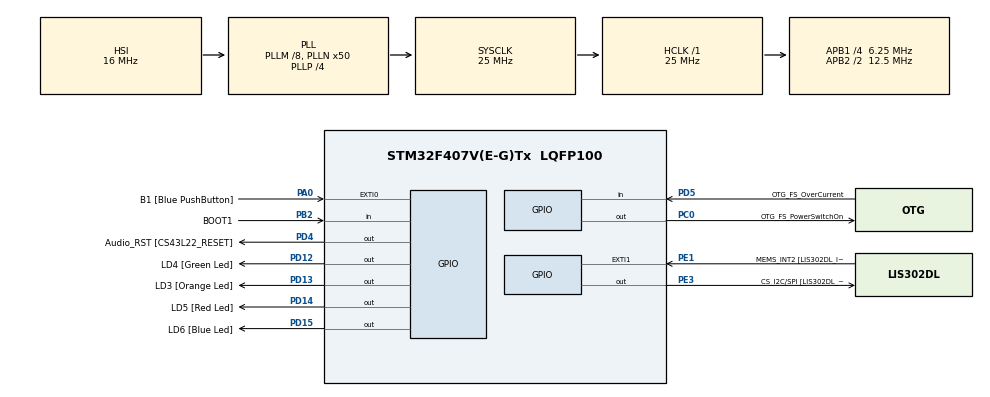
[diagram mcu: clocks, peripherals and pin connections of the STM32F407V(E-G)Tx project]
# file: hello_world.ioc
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Mcu.Family=STM32F4
Mcu.Name=STM32F407V(E-G)Tx
Mcu.Package=LQFP100
NVIC.PriorityGroup=NVIC_PRIORITYGROUP_4
NVIC.TIM6_DAC_IRQn=true\:0\:0\:false\:false\:true\:false\:true\:true
NVIC.TimeBase=TIM6_DAC_IRQn
NVIC.TimeBaseIP=TIM6
PA0-WKUP.GPIO_Label=B1 [Blue PushButton]
PA0-WKUP.Signal=GPXTI0
PA10.GPIO_Label=OTG_FS_ID
PA10.GPIO_Mode=GPIO_MODE_AF_PP
PA10.GPIO_PuPd=GPIO_NOPULL
PA10.GPIO_Speed=GPIO_SPEED_FREQ_LOW
PA10.Signal=USB_OTG_FS_ID
PA11.GPIO_Label=OTG_FS_DM
PA11.GPIO_Mode=GPIO_MODE_AF_PP
PA11.GPIO_PuPd=GPIO_NOPULL
PA11.GPIO_Speed=GPIO_SPEED_FREQ_LOW
PA11.Signal=USB_OTG_FS_DM
PA12.GPIO_Label=OTG_FS_DP
PA12.GPIO_Mode=GPIO_MODE_AF_PP
PA12.GPIO_PuPd=GPIO_NOPULL
PA12.GPIO_Speed=GPIO_SPEED_FREQ_LOW
PA12.Signal=USB_OTG_FS_DP
PA13.GPIO_Label=SWDIO
PA13.Signal=SYS_JTMS-SWDIO
PA14.GPIO_Label=SWCLK
PA14.Signal=SYS_JTCK-SWCLK
PA4.GPIO_Label=I2S3_WS [CS43L22_LRCK]
PA4.GPIO_Mode=GPIO_MODE_AF_PP
PA4.GPIO_PuPd=GPIO_NOPULL
PA4.GPIO_Speed=GPIO_SPEED_FREQ_LOW
PA4.Signal=I2S3_WS
PA5.GPIO_Label=SPI1_SCK [LIS302DL_SCL/SPC]
PA5.GPIO_Mode=GPIO_MODE_AF_PP
PA5.GPIO_PuPd=GPIO_NOPULL
PA5.GPIO_Speed=GPIO_SPEED_FREQ_LOW
PA5.Signal=SPI1_SCK
PA6.GPIO_Label=SPI1_MISO [LIS302DL_SDO]
PA6.GPIO_Mode=GPIO_MODE_AF_PP
PA6.GPIO_PuPd=GPIO_NOPULL
PA6.GPIO_Speed=GPIO_SPEED_FREQ_LOW
PA6.Signal=SPI1_MISO
PA7.GPIO_Label=SPI1_MOSI [LIS302DL_SDA/SDI/SDO]
PA7.GPIO_Mode=GPIO_MODE_AF_PP
PA7.GPIO_PuPd=GPIO_NOPULL
PA7.GPIO_Speed=GPIO_SPEED_FREQ_LOW
PA7.Signal=SPI1_MOSI
PA9.GPIO_Label=VBUS_FS
PA9.GPIO_Mode=GPIO_MODE_INPUT
PA9.GPIO_PuPd=GPIO_NOPULL
PA9.Signal=USB_OTG_FS_VBUS
PB10.GPIO_Label=CLK_IN [MP45DT02_CLK]
PB10.GPIO_Mode=GPIO_MODE_AF_PP
PB10.GPIO_PuPd=GPIO_NOPULL
PB10.GPIO_Speed=GPIO_SPEED_FREQ_LOW
PB10.Signal=I2S2_CK
PB2.GPIO_Label=BOOT1
PB2.GPIO_Mode=GPIO_MODE_INPUT
PB2.GPIO_PuPd=GPIO_NOPULL
PB2.Signal=GPIO_Input
PB3.GPIO_Label=SWO
PB3.Signal=SYS_JTDO-SWO
PB6.GPIO_Label=Audio_SCL [CS43L22_SCL]
PB6.GPIO_Mode=GPIO_MODE_AF_OD
PB6.GPIO_PuPd=GPIO_NOPULL
PB6.GPIO_Speed=GPIO_SPEED_FREQ_LOW
PB6.Signal=I2C1_SCL
PB9.GPIO_Label=Audio_SDA [CS43L22_SDA]
PB9.GPIO_Mode=GPIO_MODE_AF_OD
PB9.GPIO_PuPd=GPIO_NOPULL
PB9.GPIO_Speed=GPIO_SPEED_FREQ_LOW
PB9.Signal=I2C1_SDA
PC0.GPIO_Label=OTG_FS_PowerSwitchOn
PC0.GPIO_PuPd=GPIO_NOPULL
PC0.GPIO_Speed=GPIO_SPEED_FREQ_LOW
PC0.PinState=GPIO_PIN_SET
PC0.Signal=GPIO_Output
PC10.GPIO_Label=I2S3_SCK [CS43L22_SCLK]
PC10.GPIO_Mode=GPIO_MODE_AF_PP
PC10.GPIO_PuPd=GPIO_NOPULL
PC10.GPIO_Speed=GPIO_SPEED_FREQ_LOW
PC10.Signal=I2S3_CK
PC12.GPIO_Label=I2S3_SD [CS43L22_SDIN]
PC12.GPIO_Mode=GPIO_MODE_AF_PP
PC12.GPIO_PuPd=GPIO_NOPULL
PC12.GPIO_Speed=GPIO_SPEED_FREQ_LOW
PC12.Signal=I2S3_SD
PC14-OSC32_IN.GPIO_Label=PC14-OSC32_IN
PC14-OSC32_IN.Signal=RCC_OSC32_IN
PC15-OSC32_OUT.GPIO_Label=PC15-OSC32_OUT
PC15-OSC32_OUT.Signal=RCC_OSC32_OUT
PC3.GPIO_Label=PDM_OUT [MP45DT02_DOUT]
PC3.GPIO_Mode=GPIO_MODE_AF_PP
PC3.GPIO_PuPd=GPIO_NOPULL
PC3.GPIO_Speed=GPIO_SPEED_FREQ_LOW
PC3.Signal=I2S2_SD
PC7.GPIO_Label=I2S3_MCK [CS43L22_MCLK]
PC7.GPIO_Mode=GPIO_MODE_AF_PP
PC7.GPIO_PuPd=GPIO_NOPULL
PC7.GPIO_Speed=GPIO_SPEED_FREQ_LOW
PC7.Signal=I2S3_MCK
PD12.GPIO_Label=LD4 [Green Led]
PD12.GPIO_PuPd=GPIO_NOPULL
PD12.GPIO_Speed=GPIO_SPEED_FREQ_LOW
PD12.Signal=GPIO_Output
PD13.GPIO_Label=LD3 [Orange Led]
PD13.GPIO_PuPd=GPIO_NOPULL
PD13.GPIO_Speed=GPIO_SPEED_FREQ_LOW
PD13.Signal=GPIO_Output
PD14.GPIO_Label=LD5 [Red Led]
PD14.GPIO_PuPd=GPIO_NOPULL
PD14.GPIO_Speed=GPIO_SPEED_FREQ_LOW
PD14.Signal=GPIO_Output
PD15.GPIO_Label=LD6 [Blue Led]
PD15.GPIO_PuPd=GPIO_NOPULL
PD15.GPIO_Speed=GPIO_SPEED_FREQ_LOW
PD15.Signal=GPIO_Output
PD4.GPIO_Label=Audio_RST [CS43L22_RESET]
PD4.GPIO_PuPd=GPIO_NOPULL
PD4.GPIO_Speed=GPIO_SPEED_FREQ_LOW
PD4.Signal=GPIO_Output
PD5.GPIO_Label=OTG_FS_OverCurrent
PD5.GPIO_Mode=GPIO_MODE_INPUT
PD5.GPIO_PuPd=GPIO_NOPULL
PD5.Signal=GPIO_Input
PE1.GPIO_Label=MEMS_INT2 [LIS302DL_INT2]
PE1.GPIO_ModeDefaultEXTI=GPIO_MODE_EVT_RISING
PE1.GPIO_PuPd=GPIO_NOPULL
PE1.Signal=GPXTI1
PE3.GPIO_Label=CS_I2C/SPI [LIS302DL_CS_I2C/SPI]
PE3.GPIO_PuPd=GPIO_NOPULL
PE3.GPIO_Speed=GPIO_SPEED_FREQ_LOW
PE3.Signal=GPIO_Output
PH0-OSC_IN.GPIO_Label=PH0-OSC_IN
PH0-OSC_IN.Signal=RCC_OSC_IN
PH1-OSC_OUT.GPIO_Label=PH1-OSC_OUT
PH1-OSC_OUT.Signal=RCC_OSC_OUT
ProjectManager.HeapSize=0x200
ProjectManager.StackSize=0x400
ProjectManager.TargetToolchain=STM32CubeIDE
RCC.48MHZClocksFreq_Value=14285714.285714285
RCC.AHBFreq_Value=25000000
RCC.APB1CLKDivider=RCC_HCLK_DIV4
RCC.APB1Freq_Value=6250000
RCC.APB1TimFreq_Value=12500000
RCC.APB2CLKDivider=RCC_HCLK_DIV2
RCC.APB2Freq_Value=12500000
RCC.APB2TimFreq_Value=25000000
RCC.CortexFreq_Value=25000000
RCC.HCLKFreq_Value=25000000
RCC.HSE_VALUE=8000000
RCC.HSI_VALUE=16000000
RCC.LSE_VALUE=32768
RCC.PLLM=8
RCC.PLLN=50
RCC.PLLP=RCC_PLLP_DIV4
RCC.PLLQ=7
RCC.SYSCLKFreq_VALUE=25000000
RCC.SYSCLKSource=RCC_SYSCLKSOURCE_PLLCLK
RCC.VCOOutputFreq_Value=100000000
VP_SYS_VS_tim6.Mode=TIM6
board=STM32F407G-DISC1

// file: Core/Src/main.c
/* USER CODE BEGIN Header */
/**
  ******************************************************************************
  * @file           : main.c
  * @brief          : Main program body
  ******************************************************************************
  * @attention
  *
  * Copyright (c) 2024 STMicroelectronics.
  * All rights reserved.
  *
  * This software is licensed under terms that can be found in the LICENSE file
  * in the root directory of this software component.
  * If no LICENSE file comes with this software, it is provided AS-IS.
  *
  ******************************************************************************
  */
/* USER CODE END Header */
#include "main.h"

/* USER CODE BEGIN Includes */
#include <stdio.h>
#include "FreeRTOS.h"
#include "task.h"
#include "projdefs.h"
/* USER CODE END Includes */

/* USER CODE BEGIN PV */
#define DWT_CTRL    (*(volatile uint32_t*)0xE0001000)
/* USER CODE END PV */

void SystemClock_Config(void);
static void MX_GPIO_Init(void);
/* USER CODE BEGIN PFP */

static void task1_handler(void* parameters);
static void task2_handler(void* parameters);
static void task3_handler(void* parameters);

extern  void SEGGER_UART_init(uint32_t);

/* USER CODE END PFP */

int main(void)
{
  /* USER CODE BEGIN 1 */
	printf("Hi lmi World! -> is PreemptionEnabled? %d \r\n", configUSE_PREEMPTION);

	TaskHandle_t task1_handle;
	TaskHandle_t task2_handle;
	TaskHandle_t task3_handle;

	BaseType_t status;

  /* USER CODE END 1 */

  /* MCU Configuration--------------------------------------------------------*/

  /* Reset of all peripherals, Initializes the Flash interface and the Systick. */
  HAL_Init();

  /* Configure the system clock */
  SystemClock_Config();

  /* Initialize all configured peripherals */
  MX_GPIO_Init();
  /* USER CODE BEGIN 2 */

  status = xTaskCreate(task1_handler, "Task-1", 200, "Hello world from Task-1", 2, &task1_handle);

  configASSERT(status == pdPASS);

  status = xTaskCreate(task2_handler, "Task-2", 200, "Hello world from Task-2", 2, &task2_handle);

  configASSERT(status == pdPASS);

  status = xTaskCreate(task3_handler, "Task-3", 200, "Hello world from Task-3", 2, &task3_handle);

  configASSERT(status == pdPASS);

  //start the freeRTOS scheduler
  vTaskStartScheduler();

  //if the control comes here, then the launch of the scheduler has failed due to
  //insufficient memory in heap

  /* USER CODE END 2 */

  /* Infinite loop */
  while (1)
  {

  }
}

void SystemClock_Config(void)
{
  RCC_OscInitTypeDef RCC_OscInitStruct = {0};
  RCC_ClkInitTypeDef RCC_ClkInitStruct = {0};

  /** Configure the main internal regulator output voltage
  */
  __HAL_RCC_PWR_CLK_ENABLE();
  __HAL_PWR_VOLTAGESCALING_CONFIG(PWR_REGULATOR_VOLTAGE_SCALE1);

  /** Initializes the RCC Oscillators according to the specified parameters
  * in the RCC_OscInitTypeDef structure.
  */
  RCC_OscInitStruct.OscillatorType = RCC_OSCILLATORTYPE_HSI;
  RCC_OscInitStruct.HSIState = RCC_HSI_ON;
  RCC_OscInitStruct.HSICalibrationValue = RCC_HSICALIBRATION_DEFAULT;
  RCC_OscInitStruct.PLL.PLLState = RCC_PLL_ON;
  RCC_OscInitStruct.PLL.PLLSource = RCC_PLLSOURCE_HSI;
  RCC_OscInitStruct.PLL.PLLM = 8;
  RCC_OscInitStruct.PLL.PLLN = 50;
  RCC_OscInitStruct.PLL.PLLP = RCC_PLLP_DIV4;
  RCC_OscInitStruct.PLL.PLLQ = 7;
  if (HAL_RCC_OscConfig(&RCC_OscInitStruct) != HAL_OK)
  {
    Error_Handler();
  }

  /** Initializes the CPU, AHB and APB buses clocks
  */
  RCC_ClkInitStruct.ClockType = RCC_CLOCKTYPE_HCLK|RCC_CLOCKTYPE_SYSCLK
                              |RCC_CLOCKTYPE_PCLK1|RCC_CLOCKTYPE_PCLK2;
  RCC_ClkInitStruct.SYSCLKSource = RCC_SYSCLKSOURCE_PLLCLK;
  RCC_ClkInitStruct.AHBCLKDivider = RCC_SYSCLK_DIV1;
  RCC_ClkInitStruct.APB1CLKDivider = RCC_HCLK_DIV4;
  RCC_ClkInitStruct.APB2CLKDivider = RCC_HCLK_DIV2;

  if (HAL_RCC_ClockConfig(&RCC_ClkInitStruct, FLASH_LATENCY_0) != HAL_OK)
  {
    Error_Handler();
  }
}

static void MX_GPIO_Init(void)
{
  GPIO_InitTypeDef GPIO_InitStruct = {0};

  /* GPIO Ports Clock Enable */
  __HAL_RCC_GPIOE_CLK_ENABLE();
  __HAL_RCC_GPIOC_CLK_ENABLE();
  __HAL_RCC_GPIOH_CLK_ENABLE();
  __HAL_RCC_GPIOA_CLK_ENABLE();
  __HAL_RCC_GPIOB_CLK_ENABLE();
  __HAL_RCC_GPIOD_CLK_ENABLE();

  /*Configure GPIO pin Output Level */
  HAL_GPIO_WritePin(CS_I2C_SPI_GPIO_Port, CS_I2C_SPI_Pin, GPIO_PIN_RESET);

  /*Configure GPIO pin Output Level */
  HAL_GPIO_WritePin(OTG_FS_PowerSwitchOn_GPIO_Port, OTG_FS_PowerSwitchOn_Pin, GPIO_PIN_SET);

  /*Configure GPIO pin Output Level */
  HAL_GPIO_WritePin(GPIOD, LD4_Pin|LD3_Pin|LD5_Pin|LD6_Pin
                          |Audio_RST_Pin, GPIO_PIN_RESET);

  /*Configure GPIO pin : CS_I2C_SPI_Pin */
  GPIO_InitStruct.Pin = CS_I2C_SPI_Pin;
  GPIO_InitStruct.Mode = GPIO_MODE_OUTPUT_PP;
  GPIO_InitStruct.Pull = GPIO_NOPULL;
  GPIO_InitStruct.Speed = GPIO_SPEED_FREQ_LOW;
  HAL_GPIO_Init(CS_I2C_SPI_GPIO_Port, &GPIO_InitStruct);

  /*Configure GPIO pin : OTG_FS_PowerSwitchOn_Pin */
  GPIO_InitStruct.Pin = OTG_FS_PowerSwitchOn_Pin;
  GPIO_InitStruct.Mode = GPIO_MODE_OUTPUT_PP;
  GPIO_InitStruct.Pull = GPIO_NOPULL;
  GPIO_InitStruct.Speed = GPIO_SPEED_FREQ_LOW;
  HAL_GPIO_Init(OTG_FS_PowerSwitchOn_GPIO_Port, &GPIO_InitStruct);

  /*Configure GPIO pin : PDM_OUT_Pin */
  GPIO_InitStruct.Pin = PDM_OUT_Pin;
  GPIO_InitStruct.Mode = GPIO_MODE_AF_PP;
  GPIO_InitStruct.Pull = GPIO_NOPULL;
  GPIO_InitStruct.Speed = GPIO_SPEED_FREQ_LOW;
  GPIO_InitStruct.Alternate = GPIO_AF5_SPI2;
  HAL_GPIO_Init(PDM_OUT_GPIO_Port, &GPIO_InitStruct);

  /*Configure GPIO pin : B1_Pin */
  GPIO_InitStruct.Pin = B1_Pin;
  GPIO_InitStruct.Mode = GPIO_MODE_IT_RISING;
  GPIO_InitStruct.Pull = GPIO_NOPULL;
  HAL_GPIO_Init(B1_GPIO_Port, &GPIO_InitStruct);

  /*Configure GPIO pin : I2S3_WS_Pin */
  GPIO_InitStruct.Pin = I2S3_WS_Pin;
  GPIO_InitStruct.Mode = GPIO_MODE_AF_PP;
  GPIO_InitStruct.Pull = GPIO_NOPULL;
  GPIO_InitStruct.Speed = GPIO_SPEED_FREQ_LOW;
  GPIO_InitStruct.Alternate = GPIO_AF6_SPI3;
  HAL_GPIO_Init(I2S3_WS_GPIO_Port, &GPIO_InitStruct);

  /*Configure GPIO pins : SPI1_SCK_Pin SPI1_MISO_Pin SPI1_MOSI_Pin */
  GPIO_InitStruct.Pin = SPI1_SCK_Pin|SPI1_MISO_Pin|SPI1_MOSI_Pin;
  GPIO_InitStruct.Mode = GPIO_MODE_AF_PP;
  GPIO_InitStruct.Pull = GPIO_NOPULL;
  GPIO_InitStruct.Speed = GPIO_SPEED_FREQ_LOW;
  GPIO_InitStruct.Alternate = GPIO_AF5_SPI1;
  HAL_GPIO_Init(GPIOA, &GPIO_InitStruct);

  /*Configure GPIO pin : BOOT1_Pin */
  GPIO_InitStruct.Pin = BOOT1_Pin;
  GPIO_InitStruct.Mode = GPIO_MODE_INPUT;
  GPIO_InitStruct.Pull = GPIO_NOPULL;
  HAL_GPIO_Init(BOOT1_GPIO_Port, &GPIO_InitStruct);

  /*Configure GPIO pin : CLK_IN_Pin */
  GPIO_InitStruct.Pin = CLK_IN_Pin;
  GPIO_InitStruct.Mode = GPIO_MODE_AF_PP;
  GPIO_InitStruct.Pull = GPIO_NOPULL;
  GPIO_InitStruct.Speed = GPIO_SPEED_FREQ_LOW;
  GPIO_InitStruct.Alternate = GPIO_AF5_SPI2;
  HAL_GPIO_Init(CLK_IN_GPIO_Port, &GPIO_InitStruct);

  /*Configure GPIO pins : LD4_Pin LD3_Pin LD5_Pin LD6_Pin
                           Audio_RST_Pin */
  GPIO_InitStruct.Pin = LD4_Pin|LD3_Pin|LD5_Pin|LD6_Pin
                          |Audio_RST_Pin;
  GPIO_InitStruct.Mode = GPIO_MODE_OUTPUT_PP;
  GPIO_InitStruct.Pull = GPIO_NOPULL;
  GPIO_InitStruct.Speed = GPIO_SPEED_FREQ_LOW;
  HAL_GPIO_Init(GPIOD, &GPIO_InitStruct);

  /*Configure GPIO pins : I2S3_MCK_Pin I2S3_SCK_Pin I2S3_SD_Pin */
  GPIO_InitStruct.Pin = I2S3_MCK_Pin|I2S3_SCK_Pin|I2S3_SD_Pin;
  GPIO_InitStruct.Mode = GPIO_MODE_AF_PP;
  GPIO_InitStruct.Pull = GPIO_NOPULL;
  GPIO_InitStruct.Speed = GPIO_SPEED_FREQ_LOW;
  GPIO_InitStruct.Alternate = GPIO_AF6_SPI3;
  HAL_GPIO_Init(GPIOC, &GPIO_InitStruct);

  /*Configure GPIO pin : VBUS_FS_Pin */
  GPIO_InitStruct.Pin = VBUS_FS_Pin;
  GPIO_InitStruct.Mode = GPIO_MODE_INPUT;
  GPIO_InitStruct.Pull = GPIO_NOPULL;
  HAL_GPIO_Init(VBUS_FS_GPIO_Port, &GPIO_InitStruct);

  /*Configure GPIO pins : OTG_FS_ID_Pin OTG_FS_DM_Pin OTG_FS_DP_Pin */
  GPIO_InitStruct.Pin = OTG_FS_ID_Pin|OTG_FS_DM_Pin|OTG_FS_DP_Pin;
  GPIO_InitStruct.Mode = GPIO_MODE_AF_PP;
  GPIO_InitStruct.Pull = GPIO_NOPULL;
  GPIO_InitStruct.Speed = GPIO_SPEED_FREQ_LOW;
  GPIO_InitStruct.Alternate = GPIO_AF10_OTG_FS;
  HAL_GPIO_Init(GPIOA, &GPIO_InitStruct);

  /*Configure GPIO pin : OTG_FS_OverCurrent_Pin */
  GPIO_InitStruct.Pin = OTG_FS_OverCurrent_Pin;
  GPIO_InitStruct.Mode = GPIO_MODE_INPUT;
  GPIO_InitStruct.Pull = GPIO_NOPULL;
  HAL_GPIO_Init(OTG_FS_OverCurrent_GPIO_Port, &GPIO_InitStruct);

  /*Configure GPIO pins : Audio_SCL_Pin Audio_SDA_Pin */
  GPIO_InitStruct.Pin = Audio_SCL_Pin|Audio_SDA_Pin;
  GPIO_InitStruct.Mode = GPIO_MODE_AF_OD;
  GPIO_InitStruct.Pull = GPIO_NOPULL;
  GPIO_InitStruct.Speed = GPIO_SPEED_FREQ_LOW;
  GPIO_InitStruct.Alternate = GPIO_AF4_I2C1;
  HAL_GPIO_Init(GPIOB, &GPIO_InitStruct);

  /*Configure GPIO pin : MEMS_INT2_Pin */
  GPIO_InitStruct.Pin = MEMS_INT2_Pin;
  GPIO_InitStruct.Mode = GPIO_MODE_EVT_RISING;
  GPIO_InitStruct.Pull = GPIO_NOPULL;
  HAL_GPIO_Init(MEMS_INT2_GPIO_Port, &GPIO_InitStruct);

}

/* USER CODE BEGIN 4 */

static void task1_handler(void* parameters)
{

	char msg[100];

	while(1)
	{
		HAL_GPIO_TogglePin(GPIOD, LD3_Pin);
//		HAL_Delay(2000);
		vTaskDelay(pdMS_TO_TICKS(1000));
//		snprintf(msg,100,"%s\n", (char*)parameters);
//		SEGGER_SYSVIEW_PrintfTarget(msg);
//		printf("task 1 \n\r");
//		taskYIELD();
	}

}

static void task2_handler(void* parameters)
{
	char msg[100];
	while(1)
	{
		HAL_GPIO_TogglePin(GPIOD, LD5_Pin);
		// HAL_Delay(3000);
		vTaskDelay(pdMS_TO_TICKS(2000));
//		snprintf(msg,100,"%s\n", (char*)parameters);
//		SEGGER_SYSVIEW_PrintfTarget(msg);
//		printf("task 2 \n\r");
//		taskYIELD();
	}

}

static void task3_handler(void* parameters)
{
	char msg[100];
	while(1)
	{
		HAL_GPIO_TogglePin(GPIOD, LD4_Pin);
		// HAL_Delay(1000);
		vTaskDelay(pdMS_TO_TICKS(3000));
//		snprintf(msg,100,"%s\n", (char*)parameters);
//		SEGGER_SYSVIEW_PrintfTarget(msg);
//		printf("task 2 \n\r");
//		taskYIELD();
	}

}

/* USER CODE END 4 */

void HAL_TIM_PeriodElapsedCallback(TIM_HandleTypeDef *htim)
{
  if (htim->Instance == TIM6) {
    HAL_IncTick();
  }
}

void Error_Handler(void)
{
  __disable_irq();
  while (1)
  {
  }
}
